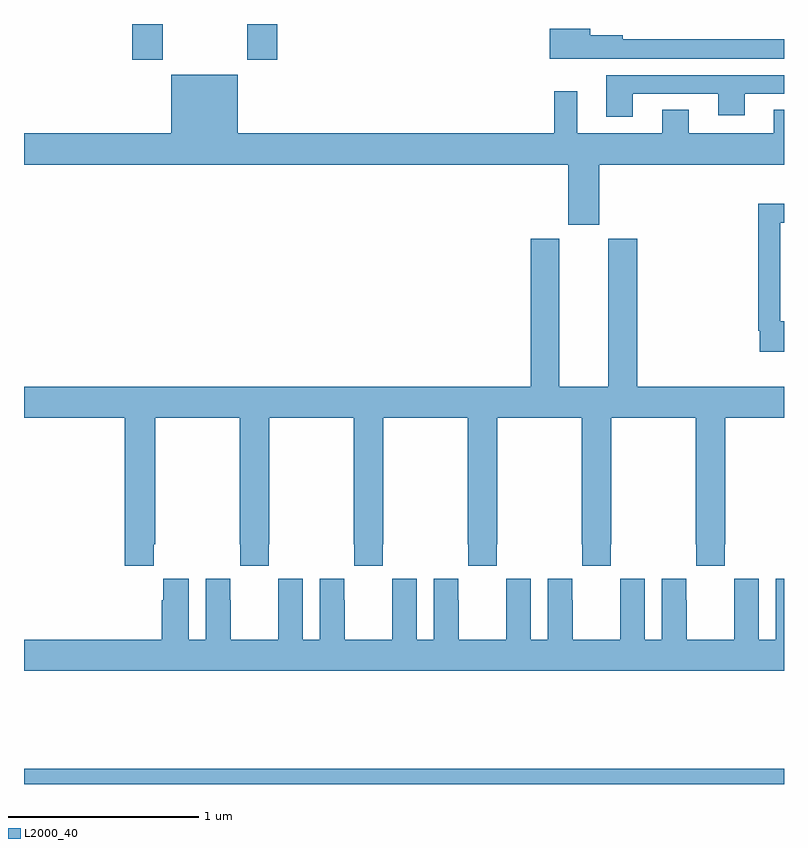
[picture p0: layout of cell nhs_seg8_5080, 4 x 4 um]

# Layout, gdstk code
import gdstk
lib = gdstk.Library(unit=1e-6, precision=1e-09)
def R(c, l, rs):  # rectangles x0, y0, x1, y1
    for r in rs: c.add(gdstk.rectangle(r[:2], r[2:], *l))
def P(c, l, *ps):  # polygons
    for p in ps: c.add(gdstk.Polygon(p, *l))
L2000_40 = (2000, 40)

nhs_seg8_5080 = lib.new_cell('nhs_seg8_5080')
R(nhs_seg8_5080, L2000_40, [(417,1119.9,421,1119.98), (417.569,1123.713,417.729,1123.9), (418.174,1123.713,418.334,1123.9)])
P(nhs_seg8_5080, L2000_40, [(421,1123.819),(420.15,1123.819),(420.15,1123.84),(419.98,1123.84),(419.98,1123.876),(419.766,1123.876),(419.766,1123.718),(421,1123.718)],
  [(420.028,1123.16),(421,1123.16),(421,1123.448),(420.947,1123.448),(420.947,1123.324),(420.499,1123.324),(420.499,1123.448),(420.359,1123.448),(420.359,1123.324),(419.911,1123.324),(419.911,1123.546),(419.79,1123.546),(419.79,1123.324),(418.126,1123.324),(418.126,1123.633),(417.776,1123.633),(417.776,1123.324),(417,1123.324),(417,1123.16),(419.864,1123.16),(419.864,1122.843),(420.028,1122.843)],
  [(420.205,1123.533),(420.653,1123.533),(420.653,1123.421),(420.793,1123.421),(420.793,1123.533),(421,1123.533),(421,1123.629),(420.065,1123.629),(420.065,1123.413),(420.205,1123.413)],
  [(421,1122.335),(420.981,1122.335),(420.981,1122.855),(421,1122.855),(421,1122.955),(420.865,1122.955),(420.865,1122.286),(420.873,1122.286),(420.873,1122.174),(421,1122.174)],
  [(417.683,1121.161),(417.69,1121.161),(417.69,1121.828),(418.135,1121.828),(418.135,1121.161),(418.137,1121.161),(418.137,1121.049),(418.287,1121.049),(418.287,1121.161),(418.29,1121.161),(418.29,1121.828),(418.735,1121.828),(418.735,1121.161),(418.737,1121.161),(418.737,1121.049),(418.887,1121.049),(418.887,1121.161),(418.89,1121.161),(418.89,1121.828),(419.335,1121.828),(419.335,1121.161),(419.337,1121.161),(419.337,1121.049),(419.487,1121.049),(419.487,1121.161),(419.49,1121.161),(419.49,1121.828),(419.935,1121.828),(419.935,1121.161),(419.937,1121.161),(419.937,1121.049),(420.087,1121.049),(420.087,1121.161),(420.09,1121.161),(420.09,1121.828),(420.535,1121.828),(420.535,1121.161),(420.537,1121.161),(420.537,1121.049),(420.687,1121.049),(420.687,1121.161),(420.69,1121.161),(420.69,1121.828),(421,1121.828),(421,1121.992),(420.227,1121.992),(420.227,1122.771),(420.074,1122.771),(420.074,1121.992),(419.818,1121.992),(419.818,1122.771),(419.666,1122.771),(419.666,1121.992),(417,1121.992),(417,1121.828),(417.53,1121.828),(417.53,1121.049),(417.683,1121.049)],
  [(421,1120.981),(420.956,1120.981),(420.956,1120.66),(420.868,1120.66),(420.868,1120.981),(420.738,1120.981),(420.738,1120.868),(420.737,1120.868),(420.737,1120.66),(420.487,1120.66),(420.487,1120.868),(420.486,1120.868),(420.486,1120.981),(420.356,1120.981),(420.356,1120.66),(420.268,1120.66),(420.268,1120.981),(420.138,1120.981),(420.138,1120.868),(420.137,1120.868),(420.137,1120.66),(419.887,1120.66),(419.887,1120.868),(419.886,1120.868),(419.886,1120.981),(419.756,1120.981),(419.756,1120.66),(419.668,1120.66),(419.668,1120.981),(419.538,1120.981),(419.538,1120.868),(419.537,1120.868),(419.537,1120.66),(419.287,1120.66),(419.287,1120.868),(419.286,1120.868),(419.286,1120.981),(419.156,1120.981),(419.156,1120.66),(419.068,1120.66),(419.068,1120.981),(418.938,1120.981),(418.938,1120.868),(418.937,1120.868),(418.937,1120.66),(418.687,1120.66),(418.687,1120.868),(418.686,1120.868),(418.686,1120.981),(418.556,1120.981),(418.556,1120.66),(418.468,1120.66),(418.468,1120.981),(418.338,1120.981),(418.338,1120.868),(418.337,1120.868),(418.337,1120.66),(418.087,1120.66),(418.087,1120.868),(418.086,1120.868),(418.086,1120.981),(417.956,1120.981),(417.956,1120.66),(417.868,1120.66),(417.868,1120.981),(417.734,1120.981),(417.734,1120.868),(417.725,1120.868),(417.725,1120.66),(417,1120.66),(417,1120.496),(421,1120.496)])

lib.write_gds('nhs_seg8_5080.gds')
